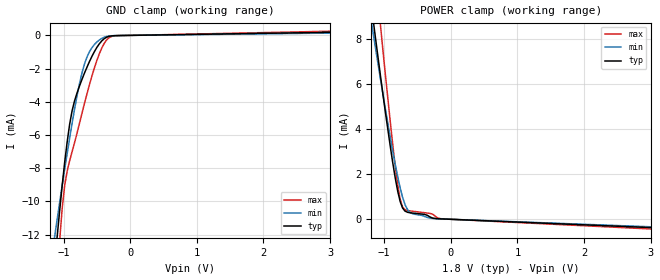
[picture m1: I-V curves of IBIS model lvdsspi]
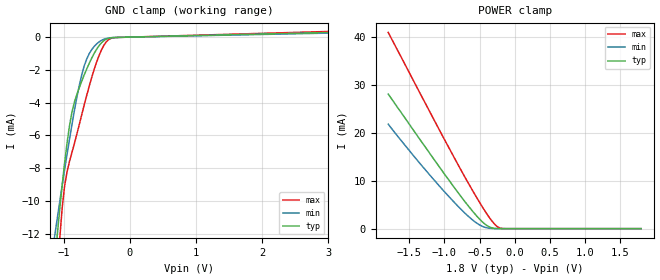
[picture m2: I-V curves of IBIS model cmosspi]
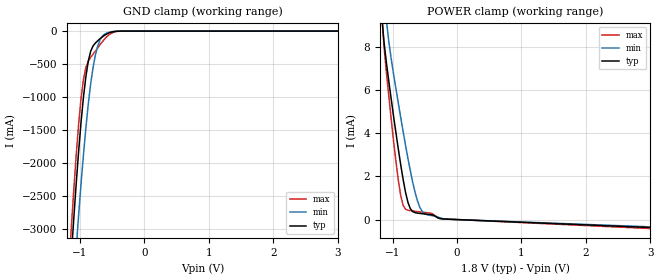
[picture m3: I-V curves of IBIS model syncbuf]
| IBIS file created by Layout Workbench Version 22.1.4.12161.401368   004
| Cadence Design Systems, Inc. 2011
[IBIS ver] 6.0
[File name]  TX7364_Jyoti.ibs
[File Rev]  1.0
[Date]   10 20, 2023
[Source] TX7364
|   Component TX7364 Jyoti
[Component] TX7364 Jyoti
[Manufacturer] Texas Instruments
[Package]
| variable   typ   min   max
R_pkg   0.0   0.0   0.0
L_pkg   0.0H   0.0H   0.0H
C_pkg   0.0F   0.0F   0.0F
[Pin]	signal_name	model_name	R_pin	L_pin	C_pin
1	OUT_9	nc	NA	NA	NA
2	OUT_10	nc	NA	NA	NA
3	OUT_11	nc	NA	NA	NA
4	AVDDM_HV_B	power	NA	NA	NA
5	AVDDM_HV_B	power	NA	NA	NA
6	AVDDM_HV_A	power	NA	NA	NA
7	AVDDM_HV_A	power	NA	NA	NA
8	TSHUT	outbuf	NA	NA	NA
9	RESET	rstin	NA	NA	NA
10	NC	nc	NA	NA	NA
11	RX_15	nc	NA	NA	NA
12	RX_16	nc	NA	NA	NA
13	OUT_12	nc	NA	NA	NA
14	OUT_13	nc	NA	NA	NA
15	OUT_14	nc	NA	NA	NA
16	AVDDM_HV_B	power	NA	NA	NA
17	AVDDM_HV_B	power	NA	NA	NA
18	AVDDM_HV_A	power	NA	NA	NA
19	AVDDM_HV_A	power	NA	NA	NA
20	FLOATM_HV_B	nc	NA	NA	NA
21	CRC_ERR	outbuf	NA	NA	NA
22	AVSS_DAMP	gnd	NA	NA	NA
23	RX_13	nc	NA	NA	NA
24	RX_14	nc	NA	NA	NA
25	OUT_15	nc	NA	NA	NA
26	OUT_16	nc	NA	NA	NA
27	AVSS_DAMP	gnd	NA	NA	NA
28	AVSS_DAMP	gnd	NA	NA	NA
29	AVSS_DAMP	gnd	NA	NA	NA
30	AVSS_DAMP	gnd	NA	NA	NA
31	AVSS_DAMP	gnd	NA	NA	NA
32	AVSS_DAMP	gnd	NA	NA	NA
33	AVSS_DAMP	gnd	NA	NA	NA
34	AVSS_DAMP	gnd	NA	NA	NA
35	RX_11	nc	NA	NA	NA
36	RX_12	nc	NA	NA	NA
37	AVDDP_HV_A	power	NA	NA	NA
38	AVDDP_HV_A	power	NA	NA	NA
39	AVDDP_HV_A	power	NA	NA	NA
40	AVDDP_HV_A	power	NA	NA	NA
41	AVDDM_5	power	NA	NA	NA
42	AVSS	gnd	NA	NA	NA
43	EN_CRC	static_cmos_in	NA	NA	NA
44	SENP	lvdsspi	NA	NA	NA
45	SENM	lvdsspi	NA	NA	NA
46	AVSS	gnd	NA	NA	NA
47	RX_9	nc	NA	NA	NA
48	RX_10	nc	NA	NA	NA
49	AVDDP_HV_B	power	NA	NA	NA
50	AVDDP_HV_B	power	NA	NA	NA
51	AVDDP_HV_B	power	NA	NA	NA
52	AVDDP_HV_B	power	NA	NA	NA
53	AVDDM_5	power	NA	NA	NA
54	NC	nc	NA	NA	NA
55	SPI_MODE	static_cmos_in	NA	NA	NA
56	AVSS	nc	NA	NA	NA
57	AVSS	nc	NA	NA	NA
58	AVSS	gnd	NA	NA	NA
59	AVSS	gnd	NA	NA	NA
60	AVSS	gnd	NA	NA	NA
61	FLOATP_HV_A	nc	NA	NA	NA
62	AVSS	gnd	NA	NA	NA
63	AVSS	gnd	NA	NA	NA
64	AVSS	gnd	NA	NA	NA
65	AVDDP_5	power	NA	NA	NA
66	NC	nc	NA	NA	NA
67	NC	nc	NA	NA	NA
68	SCLKP	lvdsspi	NA	NA	NA
69	SCLKM	lvdsspi	NA	NA	NA
70	AVSS	gnd	NA	NA	NA
71	TR_BF_SYNCM	syncbuf	NA	NA	NA
72	BF_CLKM	clkbuf	NA	NA	NA
73	FLOATP_HV_B	nc	NA	NA	NA
74	AVSS	gnd	NA	NA	NA
75	AVSS	gnd	NA	NA	NA
76	AVSS	gnd	NA	NA	NA
77	AVDDP_5	power	NA	NA	NA
78	CHIP_SEL0	static_cmos_in	NA	NA	NA
79	CHIP_SEL1	static_cmos_in	NA	NA	NA
80	SDATAP_1	lvdsspi	NA	NA	NA
81	SDATAM_1	lvdsspi	NA	NA	NA
82	AVSS	gnd	NA	NA	NA
83	TR_BF_SYNCP	syncbuf	NA	NA	NA
84	BF_CLKP	clkbuf	NA	NA	NA
85	AVDDP_HV_B	power	NA	NA	NA
86	AVDDP_HV_B	power	NA	NA	NA
87	AVDDP_HV_B	power	NA	NA	NA
88	AVDDP_HV_B	power	NA	NA	NA
89	AVDDP_5	power	NA	NA	NA
90	AVDDP_1P8	power	NA	NA	NA
91	AVDDP_1P8	power	NA	NA	NA
92	AVSS	gnd	NA	NA	NA
93	PDN	pdn	NA	NA	NA
94	AVSS	gnd	NA	NA	NA
95	AVSS	gnd	NA	NA	NA
96	AVSS	gnd	NA	NA	NA
97	AVDDP_HV_A	power	NA	NA	NA
98	AVDDP_HV_A	power	NA	NA	NA
99	AVDDP_HV_A	power	NA	NA	NA
100	AVDDP_HV_A	power	NA	NA	NA
101	AVDDP_5	power	NA	NA	NA
102	AVDDP_1P8	power	NA	NA	NA
103	AVDDP_1P8	power	NA	NA	NA
104	SDATAP_0	lvdsspi	NA	NA	NA
105	SDATAM_0	lvdsspi	NA	NA	NA
106	AVSS	gnd	NA	NA	NA
107	RX_7	nc	NA	NA	NA
108	RX_8	nc	NA	NA	NA
109	OUT_7	nc	NA	NA	NA
110	OUT_8	nc	NA	NA	NA
111	AVSS_DAMP	gnd	NA	NA	NA
112	AVSS_DAMP	gnd	NA	NA	NA
113	AVSS_DAMP	gnd	NA	NA	NA
114	AVSS_DAMP	gnd	NA	NA	NA
115	AVSS_DAMP	gnd	NA	NA	NA
116	AVSS_DAMP	gnd	NA	NA	NA
117	AVSS_DAMP	gnd	NA	NA	NA
118	AVSS_DAMP	gnd	NA	NA	NA
119	RX_5	nc	NA	NA	NA
120	RX_6	nc	NA	NA	NA
121	OUT_4	nc	NA	NA	NA
122	OUT_5	nc	NA	NA	NA
123	OUT_6	nc	NA	NA	NA
124	AVDDM_HV_B	power	NA	NA	NA
125	AVDDM_HV_B	power	NA	NA	NA
126	AVDDM_HV_A	power	NA	NA	NA
127	AVDDM_HV_A	power	NA	NA	NA
128	TX_RXZ	outbuf	NA	NA	NA
129	FLOATM_HV_A	nc	NA	NA	NA
130	AVSS_DAMP	gnd	NA	NA	NA
131	RX_3	nc	NA	NA	NA
132	RX_4	nc	NA	NA	NA
133	OUT_1	nc	NA	NA	NA
134	OUT_2	nc	NA	NA	NA
135	OUT_3	nc	NA	NA	NA
136	AVDDM_HV_B	power	NA	NA	NA
137	AVDDM_HV_B	power	NA	NA	NA
138	AVDDM_HV_A	power	NA	NA	NA
139	AVDDM_HV_A	power	NA	NA	NA
140	SDOUT	sdout	NA	NA	NA
141	WAKE_UP	static_cmos_in	NA	NA	NA
142	NC	nc	NA	NA	NA
143	RX_1	nc	NA	NA	NA
144	RX_2	nc	NA	NA	NA
145	SENP_CMOS	cmosspi	NA	NA	NA
146	SENM_CMOS	gnd	NA	NA	NA
147	SCLKP_CMOS	cmosspi	NA	NA	NA
148	SCLKM_CMOS	gnd	NA	NA	NA
149	SDINP0_CMOS	cmosspi	NA	NA	NA
150	SDINM0_CMOS	gnd	NA	NA	NA
151	SDINP1_CMOS	cmosspi	NA	NA	NA
152	SDINM1_CMOS	gnd	NA	NA	NA
[Diff_pin]   inv_pin   vdiff   tdelay_typ   tdelay_min   tdelay_max
83   71   200mV   NA   NA   NA
68   69   200mV   NA   NA   NA
44   45   200mV   NA   NA   NA
104   105   200mV   NA   NA   NA
80   81   200mV   NA   NA   NA
84   72   200mV   NA   NA   NA
| Models and submodels in the file (9): lvdsspi (Input), cmosspi (Input), syncbuf (Input), clkbuf (Input), static_cmos_in (Input), pdn (Input), rstin (Input), sdout (3-state), outbuf (Output)
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|   Model lvdsspi
[Model] lvdsspi
Model_type Input
Polarity   Non-Inverting
Enable   Active-High
C_comp   0.807pF   0.665pF   1.031pF
[Temperature Range]   25.000   0.125k   -40.000
[Voltage Range]   1.800V   1.700V   1.900V
C_comp   0.807pF   0.665pF   1.031pF
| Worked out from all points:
|   GND clamp passes 1 mA (typ) near -0.54 V on its own axis
|   POWER clamp passes 1 mA (typ) near -0.78 V on its own axis
[GND_clamp]
|Voltage   I(typ)   I(min)   I(max)
-1.8V     -45.99mA   -33.12mA   -70.81mA
-1.132V   -13.64mA   -12.05mA   -17.09mA
-1.095V   -12.05mA   -11.04mA   -14.58mA
-1.058V   -10.51mA   -10.03mA   -12.31mA
-984mV    -7.653mA   -8.065mA   -9.048mA
-872mV    -4.533mA   -5.287mA   -7mA
-687mV    -2.276mA   -1.727mA   -4.1mA
-575mV    -1.267mA   -744.2uA   -2.452mA
-427mV    -333uA     -183uA     -766.3uA
-315mV    -56.33uA   -38.8uA    -132.2uA
-204mV    -13.79uA   -11.35uA   -19.54uA
3.6V      221uA      166.4uA    300.1uA
[POWER_clamp]
|Voltage   I(typ)   I(min)   I(max)
-1.8V     23.67mA    20.44mA    31.99mA
-1.169V   8.885mA    8.292mA    12.01mA
-1.132V   8.046mA    7.602mA    10.87mA
-1.058V   6.389mA    6.238mA    8.636mA
-909mV    3.228mA    3.627mA    4.315mA
-798mV    1.251mA    1.888mA    1.532mA
-761mV    789uA      1.394mA    894.6uA
-687mV    360.6uA    644.5uA    422.3uA
-575mV    275.3uA    247.7uA    356.9uA
-278mV    59.41uA    38.47uA    233.9uA
-130mV    16.05uA    14.53uA    20.18uA
3.6V      -441.2uA   -398.5uA   -514uA
|   Model cmosspi
[Model] cmosspi
Model_type Input
Polarity   Non-Inverting
Enable   Active-High
Vinl =  0.450V
Vinh =  1.350V
C_comp   1.6pF   1.490pF   1.531pF
[Model Spec]
Vinh   1.350V   1.350V   1.350V
Vinl   0.450V   0.450V   0.450V
[Temperature Range]   25.000   0.125k   -40.000
[Voltage Range]   1.800V   1.700V   1.900V
C_comp   1.6pF   1.490pF   1.531pF
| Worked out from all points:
|   GND clamp passes 1 mA (typ) near -0.54 V on its own axis
|   POWER clamp passes 1 mA (typ) near -0.43 V on its own axis
[GND_clamp]
|Voltage   I(typ)   I(min)   I(max)
-1.8V     -46.05mA   -33.18mA   -70.87mA
-1.132V   -13.68mA   -12.09mA   -17.14mA
-1.095V   -12.09mA   -11.08mA   -14.64mA
-1.058V   -10.55mA   -10.07mA   -12.37mA
-984mV    -7.692mA   -8.101mA   -9.09mA
-909mV    -5.386mA   -6.218mA   -7.576mA
-835mV    -3.965mA   -4.465mA   -6.481mA
-724mV    -2.678mA   -2.29mA    -4.714mA
-649mV    -1.938mA   -1.33mA    -3.547mA
-427mV    -346.7uA   -196.8uA   -780.2uA
-204mV    -20.48uA   -18.47uA   -26.1uA
3.6V      338.6uA    294.4uA    414.5uA
[POWER_clamp]
|Voltage   I(typ)   I(min)   I(max)
-1.8V     28.07mA    21.78mA    40.93mA
-1.466V   21.07mA    15.68mA    31.57mA
-1.169V   14.88mA    10.52mA    23.28mA
-872mV    8.829mA    5.68mA     15.13mA
-687mV    5.227mA    2.938mA    10.19mA
-538mV    2.599mA    1.134mA    6.417mA
-427mV    993.4uA    296.9uA    3.772mA
-353mV    304.7uA    72.73uA    2.162mA
-241mV    11.61uA    4.471uA    353.1uA
-204mV    2.911uA    1.497uA    102.5uA
-130mV    182.3nA    140.1nA    3.423uA
1.8V      0A         0A         0A
|   Model syncbuf
[Model] syncbuf
Model_type Input
Polarity   Non-Inverting
Enable   Active-High
C_comp   3.570pF   3.470pF   3.740pF
[Temperature Range]   25.000   0.125k   -40.000
[Voltage Range]   1.800V   1.700V   1.900V
C_comp   3.570pF   3.470pF   3.740pF
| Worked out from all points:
|   GND clamp passes 1 mA (typ) near -0.39 V on its own axis
|   POWER clamp passes 1 mA (typ) near -0.78 V on its own axis
[GND_clamp]
|Voltage   I(typ)   I(min)   I(max)
-1.8V     -15.32A    -15.81A    -15.37A
-1.169V   -3.946A    -4.912A    -3.534A
-1.132V   -3.374A    -4.354A    -2.945A
-1.095V   -2.827A    -3.813A    -2.388A
-1.058V   -2.308A    -3.292A    -1.872A
-1.021V   -1.825A    -2.792A    -1.411A
-984mV    -1.387A    -2.318A    -1.024A
-872mV    -459.6mA   -1.114A    -457.5mA
-761mV    -181.2mA   -364.4mA   -303mA
-612mV    -59.11mA   -42.58mA   -113.1mA
-353mV    -335.5uA   -424.5uA   -675.6uA
3.6V      221.1uA    168.8uA    291.5uA
[POWER_clamp]
|Voltage   I(typ)   I(min)   I(max)
-1.8V     41mA       36.78mA    50.83mA
-1.169V   9.509mA    12.03mA    9.61mA
-1.132V   8.198mA    10.6mA     7.992mA
-1.095V   7.256mA    9.217mA    6.811mA
-909mV    3.234mA    5.361mA    1.794mA
-835mV    1.845mA    4.059mA    650.7uA
-798mV    1.258mA    3.432mA    479.7uA
-724mV    504.9uA    2.256mA    411.8uA
-612mV    298.2uA    851.9uA    370.1uA
-464mV    248.7uA    223uA      315.9uA
-204mV    26.94uA    37.03uA    28.84uA
3.6V      -441.2uA   -403.8uA   -499.3uA
